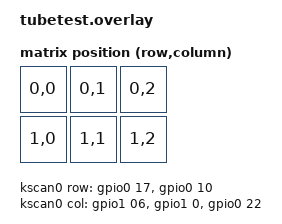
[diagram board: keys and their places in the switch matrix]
#include <dt-bindings/zmk/matrix_transform.h>

/ {
    chosen {
        zmk,kscan = &kscan0;
        zmk,matrix_transform = &default_transform;
    };
    
    default_transform: keymap_transform_0 {
        compatible = "zmk,matrix-transform";
        columns = <3>;
        rows = <2>;
        map = <
            RC(0,0) RC(0,1) RC(0,2)
            RC(1,0) RC(1,1) RC(1,2)
        >;    
    };

    kscan0: kscan {
        compatible = "zmk,kscan-gpio-matrix";
        wakeup-source;
        diode-direction = "col2row";
        row-gpios
            = <&gpio0 17 (GPIO_ACTIVE_HIGH | GPIO_PULL_DOWN)>,
            <&gpio0 10 (GPIO_ACTIVE_HIGH | GPIO_PULL_DOWN)>;
           
        col-gpios
            = <&gpio1 06 GPIO_ACTIVE_HIGH>,
             <&gpio1 0 GPIO_ACTIVE_HIGH>,
             <&gpio0 22 GPIO_ACTIVE_HIGH>;
    };
};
